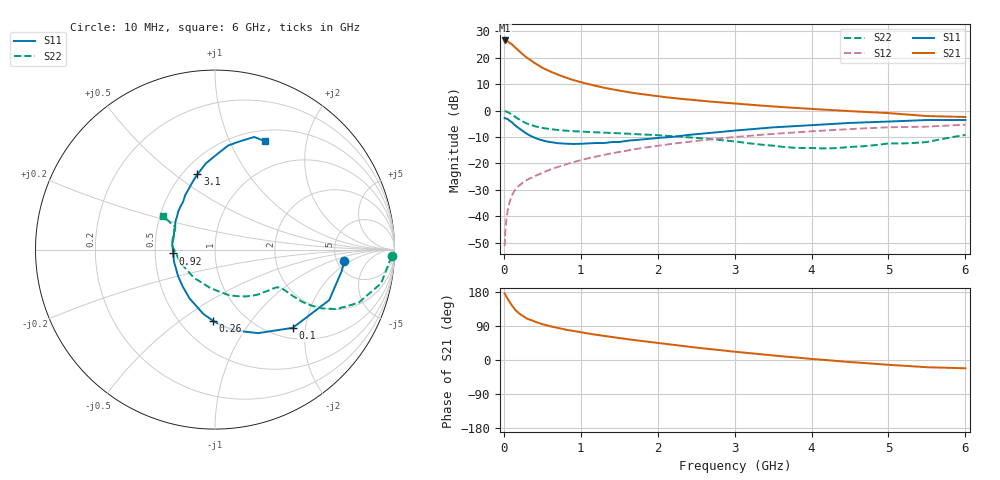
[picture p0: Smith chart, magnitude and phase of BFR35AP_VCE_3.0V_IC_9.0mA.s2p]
! (c) 2015  Infineon Technologies AG, Munich
! Infineon Technologies  Discrete & RF Semiconductors
! BFR35AP
! VCE =  3.0 V,  IC =  9.0 mA
! Common Emitter S-Parameters:  Nov 2015
# GHz  S  MA  R  50
!  f  S11  S21  S12  S22
! GHz  MAG  ANG  MAG  ANG  MAG  ANG  MAG  ANG
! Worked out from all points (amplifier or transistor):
!   210 points, 10 MHz to 6 GHz, reference 50 ohm
!   highest |S21| = 26.6 dB at 10 MHz (marker M1)
!   |S21| within 3 dB of that: start of sweep to 161.5 MHz
!   unconditionally stable (mu >= 1): 592.7 MHz to 3.402 GHz
!   at 185 MHz: K = 0.53, MSG = 25.9 dB, |S12| = -28.8 dB
!   at 1.52 GHz: K = 1.12, MAG = 9.5 dB, |S12| = -15.5 dB
!   at 6 GHz: K = 0.96, MSG = 1.5 dB, |S12| = -5.3 dB
!   S11 on the Smith chart (normalised r, x): 10 MHz: 5.83, -1.54; 100 MHz: 1.22, -1.70; 260 MHz: 0.71, -0.68; 920 MHz: 0.62, -0.03; 3.1 GHz: 0.59, +0.61; 6 GHz: 0.63, +1.36
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0.01  0.724 -5.0  21.39 176.0  0.0027 90.0  0.985 -2.2
0.02  0.7157 -9.7  21.34 171.9  0.0053 82.3  0.9707 -4.7
0.05  0.6957 -23.9  20.68 160.9  0.0129 78.2  0.9444 -11.5
0.1  0.6143 -45.2  18.28 145.0  0.0239 70.5  0.8529 -20.3
0.15  0.5234 -62.8  15.7 131.6  0.0321 64.5  0.756 -26.0
0.2  0.4616 -76.9  13.42 122.5  0.0382 62.1  0.6775 -28.9
0.24  0.4168 -86.7  11.9 116.8  0.0424 61.0  0.6283 -30.0
0.26  0.3978 -91.4  11.24 114.1  0.0444 60.7  0.6068 -30.4
0.3  0.3637 -100.4  10.09 109.3  0.0485 60.5  0.57 -30.9
0.4  0.3071 -117.4  7.979 101.1  0.0572 61.0  0.5068 -30.8
0.5  0.2735 -131.0  6.506 94.5  0.0664 61.8  0.4692 -30.4
0.6  0.2542 -143.6  5.548 89.1  0.0761 62.5  0.4469 -30.2
0.7  0.2417 -154.6  4.821 84.3  0.0854 63.2  0.4303 -30.2
0.8  0.2378 -164.3  4.246 80.2  0.0954 63.2  0.4175 -30.5
0.92  0.2336 -174.7  3.734 75.9  0.1073 63.3  0.4063 -31.2
1.02  0.2364 177.5  3.401 72.4  0.1172 63.0  0.3996 -32.0
1.4  0.2536 153.4  2.543 60.8  0.1549 61.3  0.3778 -36.8
2.02  0.3054 129.7  1.859 44.3  0.2178 55.8  0.3409 -47.7
3.1  0.4305 103.1  1.326 19.9  0.3254 43.3  0.2496 -78.1
4.1  0.5423 87.4  1.057 1.3  0.4146 30.4  0.193 -133.2
5.1  0.6292 75.5  0.876 -13.9  0.4858 16.5  0.2385 169.8
6  0.6647 65.3  0.758 -21.9  0.5412 6.3  0.3466 147.1
